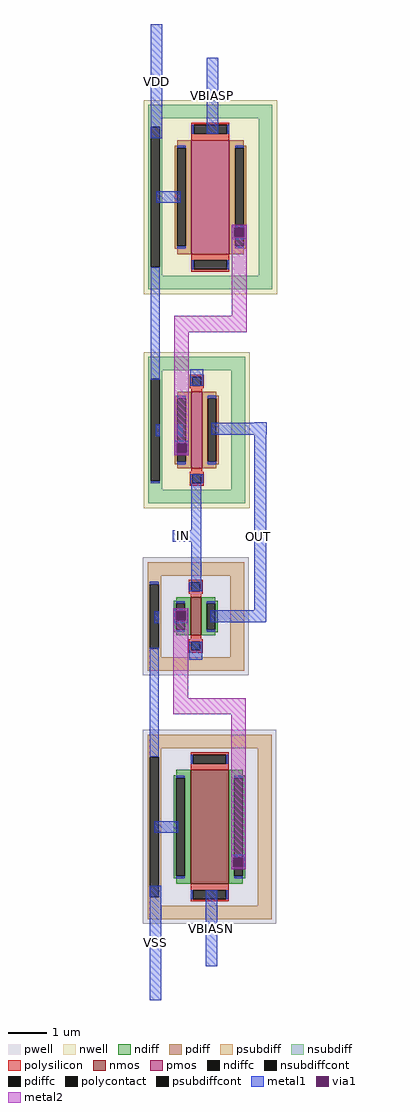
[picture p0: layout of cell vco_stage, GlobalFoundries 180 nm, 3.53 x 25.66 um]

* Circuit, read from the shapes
.subckt vco_stage VBIASP VDD VBIASN VSS IN OUT
XM1 n1 VBIASN VSS VSS nfet_03v3 w=3u l=1u
XM2 OUT IN n1 VSS nfet_03v3 w=1u l=0.28u
XM3 OUT IN n2 VDD pfet_03v3 w=2u l=0.28u
XM4 n2 VBIASP VDD VDD pfet_03v3 w=3u l=1u
.ends

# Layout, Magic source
magic
tech gf180mcuD
magscale 1 10
<< metal1 >>
rect -28 2765 32 3365
rect 266 2787 326 3187
rect 1 2425 128 2486
rect 398 2297 474 2309
rect 398 2245 410 2297
rect 462 2245 474 2297
rect 398 2233 474 2245
rect -28 1495 18 2086
rect 179 1463 247 1550
rect 516 1269 577 1271
rect -4 1196 18 1260
rect 110 1196 138 1260
rect 289 1205 581 1269
rect 95 1161 171 1173
rect 95 1109 107 1161
rect 159 1109 171 1161
rect 95 1097 171 1109
rect 185 703 236 997
rect 87 643 236 703
rect 185 383 236 643
rect 90 280 166 292
rect 516 283 577 1205
rect -10 214 13 278
rect 90 228 102 280
rect 154 228 166 280
rect 90 216 166 228
rect 284 221 577 283
rect 284 219 576 221
rect 105 214 132 216
rect -33 -488 13 86
rect 174 21 242 117
rect -11 -887 116 -826
rect 394 -1016 470 -1004
rect 394 -1068 406 -1016
rect 458 -1068 470 -1016
rect 394 -1080 470 -1068
rect -33 -1767 27 -1167
rect 261 -1590 321 -1190
<< via1 >>
rect 410 2245 462 2297
rect 107 1109 159 1161
rect 102 228 154 280
rect 406 -1068 458 -1016
<< metal2 >>
rect 397 2297 475 2310
rect 397 2245 410 2297
rect 462 2245 475 2297
rect 397 1831 475 2245
rect 94 1745 475 1831
rect 94 1161 171 1745
rect 94 1109 107 1161
rect 159 1109 171 1161
rect 94 1097 171 1109
rect 89 280 167 292
rect 89 228 102 280
rect 154 228 167 280
rect 89 -180 167 228
rect 89 -265 470 -180
rect 394 -1016 470 -265
rect 394 -1068 406 -1016
rect 458 -1068 470 -1016
rect 394 -1080 470 -1068
use nfet_03v3_BTJ7S5  nfet_03v3_BTJ7S5_0
transform 1 0 280 0 1 -857
box -350 -510 350 510
use nfet_03v3_RP234Q  nfet_03v3_RP234Q_0
transform 1 0 208 0 1 250
box -278 -310 278 310
use pfet_03v3_2T97SG  pfet_03v3_2T97SG_0
transform 1 0 213 0 1 1230
box -278 -410 278 410
use pfet_03v3_DWXM7A  pfet_03v3_DWXM7A_0
transform 1 0 285 0 1 2455
box -350 -510 350 510
<< labels >>
rlabel metal1 266 2787 326 3187 1 VBIASP
port 1 n
rlabel metal1 -28 2765 32 3365 1 VDD
port 2 n
rlabel metal1 261 -1590 321 -1190 1 VBIASN
port 3 n
rlabel metal1 -33 -1767 27 -1167 1 VSS
port 4 n
rlabel metal1 87 643 202 703 1 IN
port 5 n
rlabel metal1 529 641 551 699 1 OUT
port 6 n
<< end >>

# cell nfet_03v3_BTJ7S5: kit device nfet_03v3, w 3 l 1 m 1 nf 1 diffcov 90 polycov 100 guard 1 glc 1 grc 0 gtc 0 gbc 0 tbcov 100 rlcov 100 topc 1 botc 1 poverlap 0 doverlap 0 lmin 0.28 wmin 0.22 class mosfet full_metal 0 compatible {nfet_03v3 nfet_05v0 nfet_06v0 nfet_06v0_nvt}

# cell nfet_03v3_RP234Q: kit device nfet_03v3, w 1 l 0.280 m 1 nf 1 diffcov 80 polycov 100 guard 1 glc 1 grc 0 gtc 0 gbc 0 tbcov 100 rlcov 100 topc 1 botc 1 poverlap 0 doverlap 0 lmin 0.28 wmin 0.22 class mosfet full_metal 0 compatible {nfet_03v3 nfet_05v0 nfet_06v0 nfet_06v0_nvt}

# cell pfet_03v3_2T97SG: kit device pfet_03v3, w 2 l 0.280 m 1 nf 1 diffcov 90 polycov 100 guard 1 glc 1 grc 0 gtc 0 gbc 0 tbcov 100 rlcov 100 topc 1 botc 1 poverlap 0 doverlap 0 lmin 0.28 wmin 0.22 class mosfet full_metal 0 compatible {pfet_03v3 pfet_05v0 pfet_06v0}

# cell pfet_03v3_DWXM7A: kit device pfet_03v3, w 3 l 1 m 1 nf 1 diffcov 90 polycov 100 guard 1 glc 1 grc 0 gtc 0 gbc 0 tbcov 100 rlcov 100 topc 1 botc 1 poverlap 0 doverlap 0 lmin 0.28 wmin 0.22 class mosfet full_metal 0 compatible {pfet_03v3 pfet_05v0 pfet_06v0}
